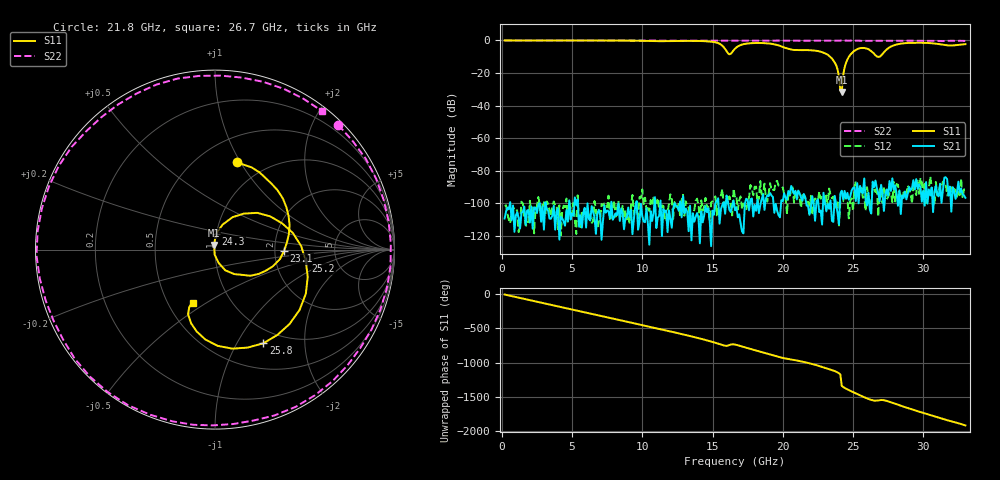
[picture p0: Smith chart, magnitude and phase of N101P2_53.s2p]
# GHZ S RI R 50
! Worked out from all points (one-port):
!   329 points, 200 MHz to 33 GHz, reference 50 ohm
!   lowest |S11| = -31.7 dB at 24.2 GHz (marker M1), VSWR 1.05, Z = 49.4 + j2.51 ohm
!   |S11| at or under -10 dB: 23.36 GHz to 24.71 GHz (1.346 GHz wide, 5.6 % of centre); 26.76342 GHz to 26.87293 GHz (109.5 MHz wide, 0.408 % of centre)
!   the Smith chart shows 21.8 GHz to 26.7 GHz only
!   S11 on the Smith chart (normalised r, x): 21.8 GHz: 0.75, +0.97; 23.1 GHz: 2.25, -0.04; 24.3 GHz: 1.00, +0.17; 25.2 GHz: 2.98, -0.51; 25.8 GHz: 0.81, -1.29; 26.7 GHz: 0.66, -0.44
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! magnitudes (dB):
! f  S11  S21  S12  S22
! 200 MHz  0.0  -109.3  -101.7  0.0
! 5.7 GHz  0.0  -114.9  -104.8  -0.1
! 11.2 GHz  -0.5  -107.9  -103.5  -0.2
! 15.2 GHz  -1.2  -100.1  -95.8  -0.1
! 16.2 GHz  -8.5  -104.1  -95.8  -0.2
! 16.6 GHz  -5.1  -104.3  -96.4  -0.2
! 18.4 GHz  -1.5  -101.2  -86.4  -0.1
! 21.8 GHz  -6.0  -101.5  -99.0  -0.2
! 22.1 GHz  -6.1  -95.6  -107.3  -0.2
! 23.1 GHz  -8.3  -105.0  -95.2  -0.2
! 23.8 GHz  -15.2  -100.8  -102.0  -0.1
! 24 GHz  -22.2  -113.0  -113.6  -0.1
! 24.1 GHz  -30.8  -94.0  -98.9  -0.1
! 24.2 GHz  -31.7  -92.3  -98.0  -0.1
! 24.3 GHz  -21.2  -97.5  -98.8  -0.1
! 24.6 GHz  -11.8  -93.6  -96.6  -0.1
! 25.2 GHz  -5.9  -98.6  -86.4  -0.1
! 25.8 GHz  -4.6  -84.8  -96.1  -0.2
! 26.7 GHz  -9.8  -90.9  -89.7  -0.2
! 27.6 GHz  -4.3  -86.3  -93.8  -0.2
! 29.2 GHz  -1.4  -90.6  -100.2  -0.2
! 33 GHz  -2.3  -96.6  -91.5  -0.3
